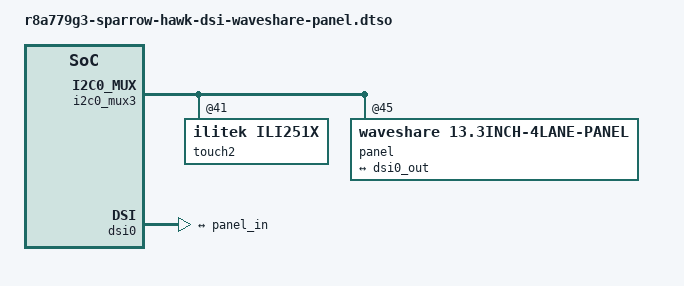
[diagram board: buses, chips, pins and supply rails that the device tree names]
// SPDX-License-Identifier: (GPL-2.0-only OR BSD-2-Clause)
/*
 * Device Tree Overlay for Waveshare DSI Touchscreens connected to J4:DSI
 * on R-Car V4H ES3.0 Sparrow Hawk board
 *
 * Copyright (C) 2025 Naoto Yamaguchi <naoto.yamaguchi@aisin.co.jp>
 *
 */

/dts-v1/;
/plugin/;

&i2c0_mux3 {
	#address-cells = <1>;
	#size-cells = <0>;

	touch2: ilitek@41 {
		compatible = "ilitek,ili251x";
		reg = <0x41>;
		status = "okay";
	};

	panel: panel_disp1@45 {
		reg = <0x45>;
		compatible = "waveshare,13.3inch-4lane-panel";
		status = "okay";

		port {
			panel_in: endpoint {
				remote-endpoint = <&dsi0_out>;
			};
		};
	};
};

&dsi0 {
	#address-cells = <1>;
	#size-cells = <0>;
	status = "okay";

	ports {
		port@1 {
			reg = <1>;

			dsi0_out: endpoint {
				remote-endpoint = <&panel_in>;
				data-lanes = <1 2 3 4>;
			};
		};
	};
};
